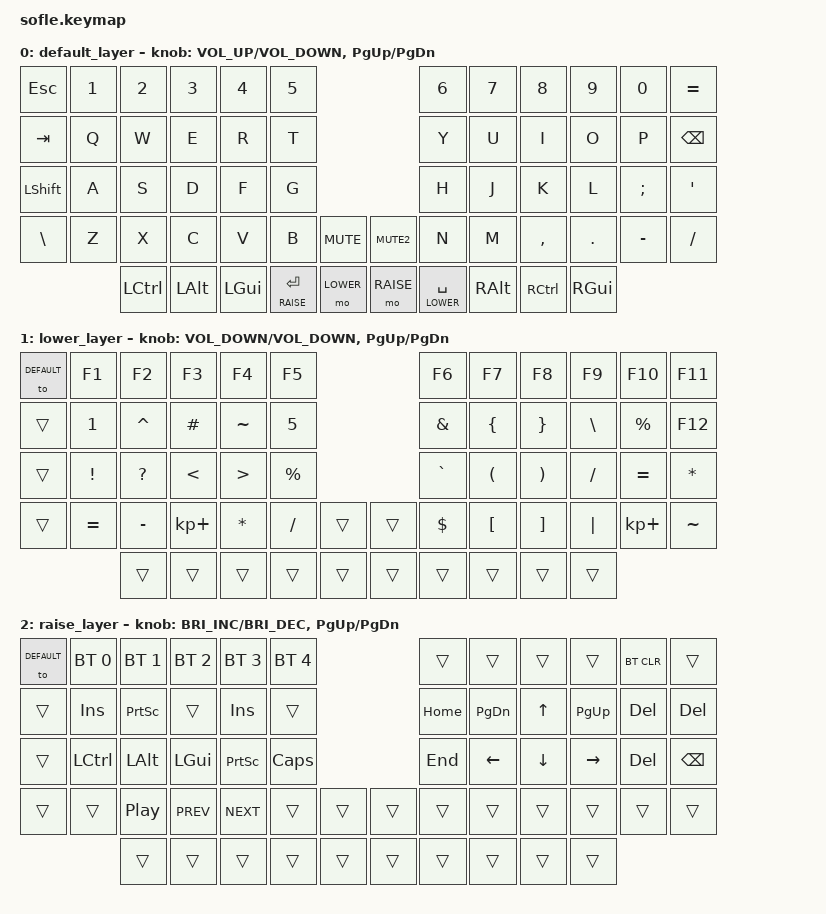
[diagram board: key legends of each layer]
/*
 * Copyright (c) 2020 The ZMK Contributors
 *
 * SPDX-License-Identifier: MIT
 */

#include <behaviors.dtsi>
#include <dt-bindings/zmk/keys.h>
#include <dt-bindings/zmk/bt.h>

#define DEFAULT 0
#define LOWER 1
#define RAISE 2

/ {
  combos {
      compatible = "zmk,combos";
      combo_lower {
            timeout-ms = <1000>;
            key-positions = <0 54>;
            bindings = <&tog LOWER>;
            slow-release;
      };
      
      combo_raise {
            timeout-ms = <1000>;
            key-positions = <0 55>;
            bindings = <&tog RAISE>;
            slow-release;
      };
  };
  
  keymap {
        compatible = "zmk,keymap";
// DEFAULT
// US
// ------------------------------------------------------------------------------------------------------------
// |  ESC  |  F1 |  F2 |  F3  |  F4  |  F5  |                   |  F6  |  F7   |  F8   |  F9  |  F10  |  F11  |
// |  TAB  |   Q |  W  |   E  |   R  |   T  |                   |   Y  |   U   |   I   |   O  |    P  | BACKSPACE  |
// |LSHIFT |  A  |  S  |   D  |   F  |  G   |                   |   H  |   J   |   K   |  L   |  ; :  |   ' "   |
// | \ |   |  Z  |  X  |   C  |   V  |  B   | MUTE    |  |      |   N  |   M   |  , <  |  . > |  - _  |  / ?    |
//               | CTRL| ALT  |CMD/WIN|RETURN| LOWER  |  |RAISE | SPACE| ALT   | CTRL  |CMD/WIN|
        default_layer {

            bindings = <
&kp ESC     &kp N1 &kp N2   &kp N3   &kp N4    &kp N5                                   &kp N6    &kp N7    &kp N8    &kp N9   &kp N0   &kp EQUAL
&kp TAB     &kp Q  &kp W    &kp E    &kp R     &kp T                                    &kp Y     &kp U     &kp I     &kp O    &kp P    &kp BSPC
&kp LSHFT   &kp A  &kp S    &kp D    &kp F     &kp G                                    &kp H     &kp J     &kp K     &kp L    &kp SEMI &kp SINGLE_QUOTE
&kp BACKSLASH   &kp Z  &kp X    &kp C    &kp V     &kp B   &kp C_MUTE       &kp K_MUTE2 &kp N     &kp M     &kp COMMA &kp DOT  &kp MINUS &kp SLASH
                   &kp LCTRL &kp LALT &kp LGUI &lt RAISE RET &mo LOWER      &mo RAISE  &lt LOWER SPACE &kp RALT &kp RCTRL &kp RGUI
            >;

            sensor-bindings = <&inc_dec_kp C_VOLUME_UP C_VOLUME_DOWN &inc_dec_kp PG_UP PG_DN>;
        };

        lower_layer {
// LOWER (LEFT)
// US
// ------------------------------------------------------------------------------------------------------------
// |   ESC |  F1 |  F2 |  F3  |  F4  |  F5  |                   |  F6  |  F7   |  F8   |  F9  |  F10  |  F11  |
// |   TAB |   1 |  ^  |   #  |   ~  |   5  |                   |   &  |   {   |   }   |   \  |    %  |  F12  |
// |LSHIFT |  !  |  ?  |  <   |  >   |  %   |                   |  `   |  (    |  )    |  /   |   =   |   *   |
// |  \ |  |  =  |  -  |  +   |  *   |  /   |        |  |       |  $   |  [    |  ]    |  |   |   +   |   ~   |
//               | CTRL| ALT  |CMD/WIN|RETURN| LOWER  |  |RAISE | SPACE| ALT   | CTRL  |CMD/WIN|
      

            bindings = <
&to DEFAULT &kp F1  &kp F2    &kp F3      &kp F4    &kp F5                                     &kp F6    &kp F7   &kp F8   &kp F9    &kp F10   &kp F11
&trans    &kp N1    &kp CARET &kp HASH    &kp TILDE &kp N5                                     &kp AMPS  &kp LBRC &kp RBRC  &kp BSLH  &kp PRCNT  &kp F12
&trans    &kp EXCL  &kp QMARK &kp LT      &kp GT    &kp PRCNT                                  &kp GRAVE &kp LPAR &kp RPAR  &kp SLASH &kp EQUAL  &kp STAR 
&trans &kp EQUAL    &kp MINUS &kp KP_PLUS &kp ASTERISK  &kp SLASH     &trans         &trans    &kp DLLR  &kp LBKT &kp RBKT  &kp PIPE  &kp KP_PLUS &kp TILDE
                    &trans    &trans      &trans    &trans            &trans         &trans    &trans    &trans   &trans    &trans
            >;

            sensor-bindings = <&inc_dec_kp C_VOLUME_DOWN C_VOLUME_DOWN &inc_dec_kp PG_UP PG_DN>;
        };

        raise_layer {
// RISE (right)
// ------------------------------------------------------------------------------------------------------------
// |     | BT1  | BT2  |  BT3  |  BT4  |  BT5 |                |      |      |       |      | BT CLEAR |       |
// |     | INS  | PRINT|       |  INS  |      |                | HOME | PDWN |   ^   |  PUP |  DEL  |  DEL  |
// |     | CTRL | ALT  | GUI   | PRINT | CAPS |                | END  |   <- |   v   |  ->  |  DEL  | BKSPC |
// |     |      | PLAY | PREV  | NEXT  |      |      |  |      |      |      |       |      |       |       |
//              |      |       |       |      |      |  |      |      |      |       |      |
            bindings = <
&to DEFAULT &bt BT_SEL 0 &bt BT_SEL 1 &bt BT_SEL 2 &bt BT_SEL 3 &bt BT_SEL 4             &trans    &trans    &trans   &trans    &bt BT_CLR  &trans
&trans     &kp INS      &kp PSCRN   &trans       &kp INS       &trans                   &kp HOME &kp PG_DN &kp UP   &kp PG_UP &kp DEL &kp DEL
&trans     &kp LCTRL    &kp LALT    &kp LGUI     &kp PSCRN     &kp CLCK                 &kp END  &kp LEFT  &kp DOWN &kp RIGHT &kp DEL &kp BSPC
&trans     &trans       &kp C_PLAY_PAUSE &kp C_PREV &kp C_NEXT &trans  &trans   &trans  &trans    &trans    &trans   &trans    &trans  &trans
                        &trans       &trans       &trans       &trans  &trans   &trans  &trans    &trans    &trans   &trans
            >;

            sensor-bindings = <&inc_dec_kp C_BRIGHTNESS_INC C_BRIGHTNESS_DEC &inc_dec_kp PAGE_UP PAGE_DOWN>;
        };
    };
};
